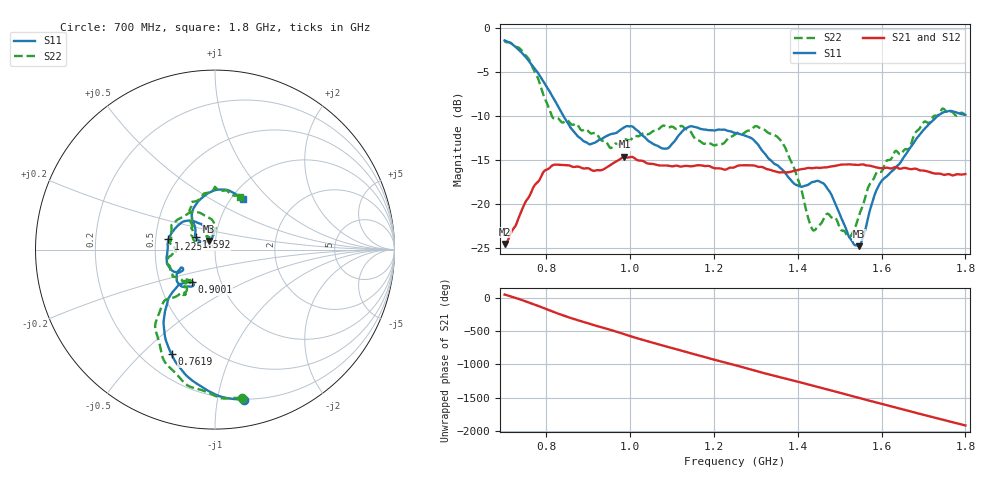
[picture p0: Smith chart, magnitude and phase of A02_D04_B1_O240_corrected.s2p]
! Created with skrf 1.9.0 (http://scikit-rf.org).
# Hz S RI R 50.0
!freq ReS11 ImS11 ReS21 ImS21 ReS12 ImS12 ReS22 ImS22
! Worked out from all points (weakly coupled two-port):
!   1601 points, 700 MHz to 1.8 GHz, reference 50 ohm
!   highest |S21| = -14.58 dB at 986 MHz (marker M1); lowest = -24.5 dB at 700.7 MHz (marker M2)
!   lowest |S11| = -24.7 dB at 1.546 GHz (marker M3), VSWR 1.12, Z = 46.6 + j4.48 ohm
!   |S11| at or under -10 dB: 840.7 MHz to 1.733 GHz (892 MHz wide, 69.3 % of centre)
!   |S22| runs from -23.8 to -1.5 dB; largest |S21 - S12| = 0.0035
!   S11 on the Smith chart (normalised r, x): 700 MHz: 0.20, -1.19; 761.9 MHz: 0.32, -0.62; 900.1 MHz: 0.73, -0.27; 1.225 GHz: 0.59, +0.07; 1.592 GHz: 0.80, +0.11; 1.8 GHz: 1.13, +0.71
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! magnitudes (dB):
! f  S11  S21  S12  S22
! 700 MHz  -1.4  -24.5  -24.3  -1.5
! 700.7 MHz  -1.4  -24.5  -24.2  -1.5
! 761.9 MHz  -4.0  -18.8  -18.7  -3.9
! 814.8 MHz  -7.8  -15.6  -15.6  -10.1
! 883.6 MHz  -12.6  -15.9  -15.7  -11.6
! 900.1 MHz  -13.1  -15.9  -15.9  -11.7
! 953 MHz  -12.0  -15.5  -15.5  -13.6
! 986 MHz  -11.2  -14.6  -14.7  -12.6
! 1.067 GHz  -13.4  -15.6  -15.5  -11.5
! 1.142 GHz  -11.1  -15.7  -15.6  -11.6
! 1.225 GHz  -11.5  -16.1  -16.0  -13.0
! 1.25 GHz  -11.9  -15.8  -15.7  -12.1
! 1.302 GHz  -13.0  -15.7  -15.6  -11.1
! 1.358 GHz  -15.8  -16.4  -16.3  -12.7
! 1.434 GHz  -17.5  -15.9  -15.9  -22.8
! 1.472 GHz  -18.3  -15.8  -15.8  -21.1
! 1.523 GHz  -23.7  -15.5  -15.4  -23.8
! 1.546 GHz  -24.7  -15.5  -15.5  -21.3
! 1.592 GHz  -17.9  -15.9  -15.8  -16.3
! 1.617 GHz  -16.6  -15.9  -15.8  -15.0
! 1.736 GHz  -9.9  -16.5  -16.6  -9.8
! 1.8 GHz  -9.8  -16.6  -16.5  -9.8
